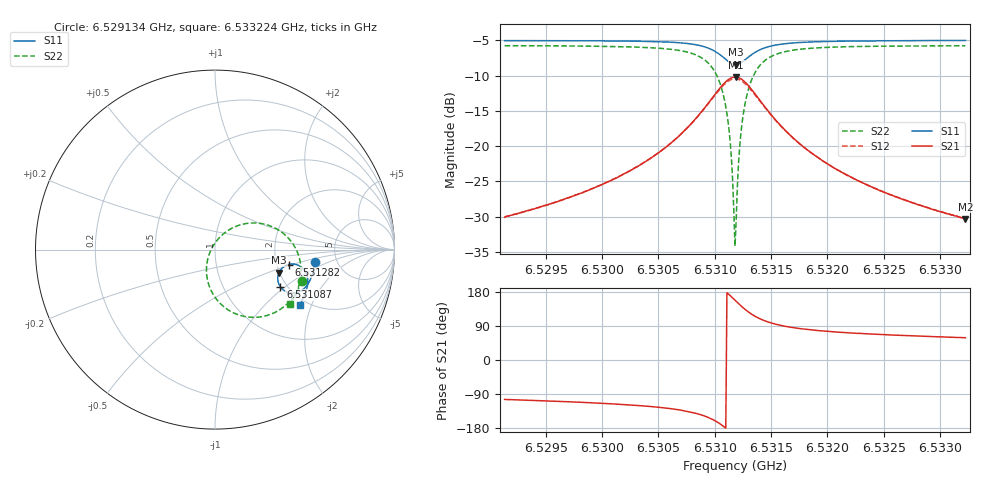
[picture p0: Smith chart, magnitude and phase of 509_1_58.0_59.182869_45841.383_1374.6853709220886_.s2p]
#  HZ  S  RI  R  50.00
! Rohde & Schwarz Vector Network Analyzer
! Rohde-Schwarz,ZNB20-2Port,1311601062101988,3.16
! Created: UTC 3/21/2024, 1:13:06 AM
! freq[Hz]  re:S11  im:S11  re:S21  im:S21  re:S12  im:S12  re:S22  im:S22
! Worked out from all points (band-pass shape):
!   401 points, 6.529134 GHz to 6.533224 GHz, reference 50 ohm
!   highest |S21| = -10.18 dB at 6.53119 GHz (marker M1); lowest = -30.3 dB at 6.533224 GHz (marker M2)
!   |S21| within 3 dB of the highest: 6.530976 GHz to 6.531386 GHz (409.3 kHz wide, 0.00627 % of centre)
!   lowest |S11| = -8.4 dB at 6.53119 GHz (marker M3), VSWR 2.22, Z = 99.4 - j29.9 ohm
!   |S11| at or under -10 dB: nowhere
!   |S22| runs from -34.2 to -5.7 dB; largest |S21 - S12| = 0.012
!   S11 on the Smith chart (normalised r, x): 6.529134 GHz: 3.40, -0.69; 6.531087 GHz: 1.84, -0.93; 6.531282 GHz: 2.32, -0.47; 6.533224 GHz: 1.82, -1.64
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6.5291343e9  0.5566 -0.069  -0.00751 -0.0303  -0.00824 -0.0304  0.4869 -0.1729
6.5298194e9  0.5454 -0.1258  -0.0173 -0.0432  -0.0183 -0.043  0.4556 -0.2367
6.5305045e9  0.5161 -0.1938  -0.0516 -0.074  -0.0535 -0.0725  0.3733 -0.3266
6.5307397e9  0.4886 -0.2234  -0.0918 -0.0932  -0.0946 -0.0901  0.2918 -0.3667
6.5309135e9  0.4442 -0.242  -0.1605 -0.099  -0.1627 -0.0926  0.1649 -0.3727
6.5310158e9  0.3992 -0.2358  -0.2302 -0.0719  -0.2293 -0.0624  0.0467 -0.3163
6.5310873e9  0.3645 -0.2077  -0.2814 -0.0124  -0.2755 -0.00269  -0.0304 -0.2081
6.5311283e9  0.3518 -0.1794  -0.2971 0.0409  -0.2881 0.0488  -0.0477 -0.1168
6.5311692e9  0.3512 -0.1456  -0.2918 0.1018  -0.281 0.1061  -0.0292 -0.0176
6.5311794e9  0.3534 -0.1371  -0.2868 0.1169  -0.2759 0.1201  -0.0185 0.00617
6.5311896e9  0.3564 -0.129  -0.2806 0.1311  -0.2693 0.1335  -0.00555 0.0287
6.5311998e9  0.3603 -0.1211  -0.2725 0.1447  -0.2614 0.1461  0.00974 0.0495
6.5312203e9  0.3702 -0.1075  -0.2529 0.169  -0.2428 0.1686  0.0453 0.0862
6.5312305e9  0.376 -0.1015  -0.2418 0.1791  -0.2321 0.1781  0.0651 0.1016
6.531251e9  0.389 -0.0919  -0.218 0.196  -0.2094 0.1938  0.1069 0.1253
6.5312816e9  0.4097 -0.0831  -0.1807 0.2114  -0.174 0.208  0.1711 0.1448
6.5313532e9  0.4533 -0.0836  -0.1044 0.213  -0.101 0.2096  0.2994 0.1349
6.5314555e9  0.4911 -0.1064  -0.0391 0.181  -0.0375 0.1793  0.4061 0.0669
6.5316088e9  0.5123 -0.1431  0.000172 0.1335  0.00127 0.1329  0.4646 -0.0295
6.5318645e9  0.5169 -0.187  0.0166 0.0871  0.0176 0.0868  0.4794 -0.1277
6.5325495e9  0.4975 -0.2576  0.0183 0.0415  0.019 0.0414  0.451 -0.2447
6.5332244e9  0.4708 -0.3081  0.0158 0.026  0.0164 0.0259  0.4164 -0.3051
